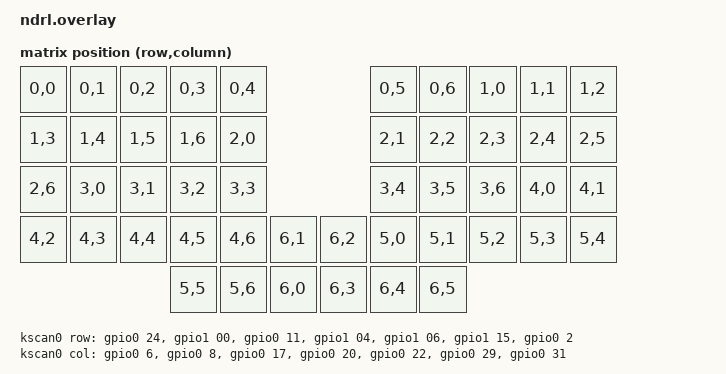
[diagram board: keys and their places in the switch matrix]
#include <dt-bindings/zmk/matrix_transform.h>
#include "ndrl-layouts.dtsi"

#define ZMK_POINTING_DEFAULT_MOVE_VAL 1500  // default: 600
#define ZMK_POINTING_DEFAULT_SCRL_VAL 20    // default: 10
#include <dt-bindings/zmk/pointing.h>
#include <dt-bindings/zmk/input_transform.h> // for preprocessing trackpad inputs

&pro_micro_spi {
    status = "okay";
    cs-gpios = <&pro_micro 1 GPIO_ACTIVE_LOW>;

    glidepoint: glidepoint@0 {
        compatible = "cirque,pinnacle";
        reg = <0>;
        spi-max-frequency = <1000000>;
        status = "okay";
        dr-gpios = <&pro_micro 0 (GPIO_ACTIVE_HIGH)>;

        sensitivity = "4x";
        sleep;
        no-taps;
    };
};

/ {
    glidepoint_listener {
        compatible = "zmk,input-listener";
        device = <&glidepoint>;
        input-processors = <&zip_xy_transform (INPUT_TRANSFORM_XY_SWAP | INPUT_TRANSFORM_X_INVERT | INPUT_TRANSFORM_Y_INVERT)>;
    };
};
/ {
    kscan0: kscan0 {
        compatible = "zmk,kscan-gpio-matrix";
        diode-direction = "col2row";
        wakeup-source;

        col-gpios
            = <&gpio0  6 GPIO_ACTIVE_HIGH>  // column 0
            , <&gpio0  8 GPIO_ACTIVE_HIGH>  // column 1
            , <&gpio0 17 GPIO_ACTIVE_HIGH>  // column 2
            , <&gpio0 20 GPIO_ACTIVE_HIGH>  // column 3
            , <&gpio0 22 GPIO_ACTIVE_HIGH>  // column 4
            , <&gpio0 29 GPIO_ACTIVE_HIGH>  // column 6
            , <&gpio0 31 GPIO_ACTIVE_HIGH>  // column 5
            ;            

        row-gpios
            = <&gpio0 24 (GPIO_ACTIVE_HIGH | GPIO_PULL_DOWN)>  // row 0
            , <&gpio1 00 (GPIO_ACTIVE_HIGH | GPIO_PULL_DOWN)>  // row 1
            , <&gpio0 11 (GPIO_ACTIVE_HIGH | GPIO_PULL_DOWN)>  // row 2
            , <&gpio1 04 (GPIO_ACTIVE_HIGH | GPIO_PULL_DOWN)>  // row 3
            , <&gpio1 06 (GPIO_ACTIVE_HIGH | GPIO_PULL_DOWN)>  // row 4
            , <&gpio1 15 (GPIO_ACTIVE_HIGH | GPIO_PULL_DOWN)>  // row 5
            , <&gpio0  2 (GPIO_ACTIVE_HIGH | GPIO_PULL_DOWN)>  // row 6
            ;
    };
};
    
&pro_micro {
    status = "okay";
};

/ {
    matrix_transform0: matrix_transform0 {
        compatible = "zmk,matrix-transform";
        columns = <10>;
        rows = <5>;
        map = <
            RC(0,0) RC(0,1) RC(0,2) RC(0,3) RC(0,4)                 RC(0,5) RC(0,6) RC(1,0) RC(1,1) RC(1,2)
            RC(1,3) RC(1,4) RC(1,5) RC(1,6) RC(2,0)                 RC(2,1) RC(2,2) RC(2,3) RC(2,4) RC(2,5)
            RC(2,6) RC(3,0) RC(3,1) RC(3,2) RC(3,3)                 RC(3,4) RC(3,5) RC(3,6) RC(4,0) RC(4,1)
            RC(4,2) RC(4,3) RC(4,4) RC(4,5) RC(4,6) RC(6,1) RC(6,2) RC(5,0) RC(5,1) RC(5,2) RC(5,3) RC(5,4)
                                    RC(5,5) RC(5,6) RC(6,0) RC(6,3) RC(6,4) RC(6,5)
        >;
    };
};
